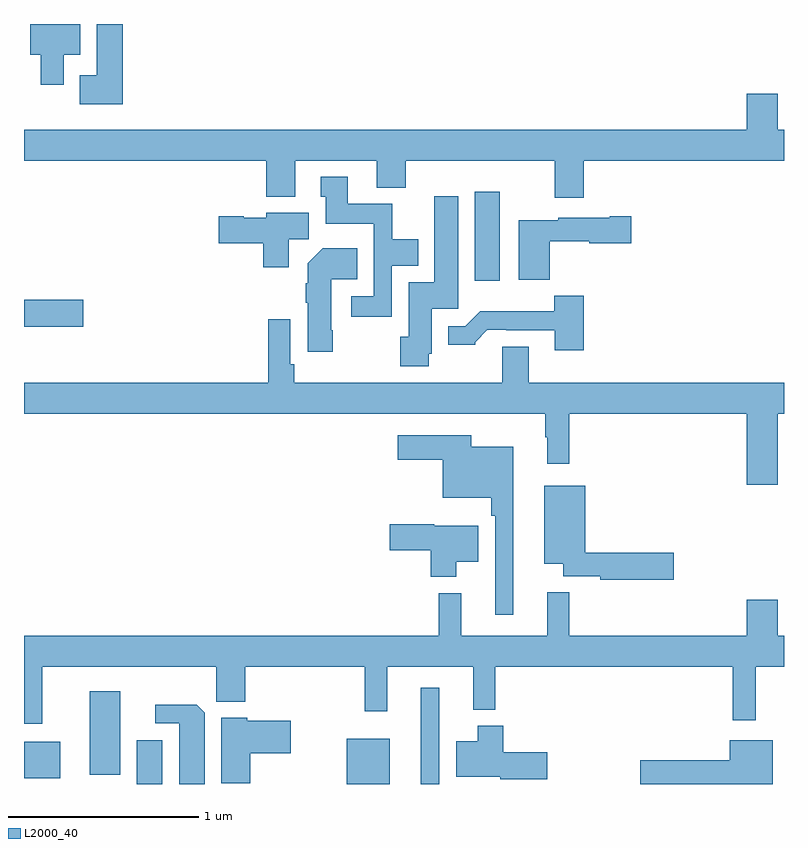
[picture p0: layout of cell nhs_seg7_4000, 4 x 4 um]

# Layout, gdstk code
import gdstk
lib = gdstk.Library(unit=1e-6, precision=1e-09)
def R(c, l, rs):  # rectangles x0, y0, x1, y1
    for r in rs: c.add(gdstk.rectangle(r[:2], r[2:], *l))
def P(c, l, *ps):  # polygons
    for p in ps: c.add(gdstk.Polygon(p, *l))
L2000_40 = (2000, 40)

nhs_seg7_4000 = lib.new_cell('nhs_seg7_4000')
R(nhs_seg7_4000, L2000_40, [(365.594,1000,365.728,1000.231), (366.698,1000,366.925,1000.237), (367.088,1000,367.185,1000.507), (365,1000.031,365.191,1000.222), (365.345,1000.05,365.506,1000.489), (365,1002.406,365.311,1002.548), (367.373,1002.648,367.504,1003.117)])
P(nhs_seg7_4000, L2000_40, [(365.519,1004),(365.384,1004),(365.384,1003.729),(365.294,1003.729),(365.294,1003.577),(365.519,1003.577)],
  [(365.209,1003.838),(365.296,1003.838),(365.296,1004),(365.033,1004),(365.033,1003.838),(365.087,1003.838),(365.087,1003.68),(365.209,1003.68)],
  [(367.946,1003.28),(369,1003.28),(369,1003.444),(368.968,1003.444),(368.968,1003.633),(368.804,1003.633),(368.804,1003.444),(365,1003.444),(365,1003.28),(366.275,1003.28),(366.275,1003.091),(366.427,1003.091),(366.427,1003.28),(366.857,1003.28),(366.857,1003.139),(367.01,1003.139),(367.01,1003.28),(367.793,1003.28),(367.793,1003.086),(367.946,1003.086)],
  [(366.936,1002.728),(367.075,1002.728),(367.075,1002.868),(366.939,1002.868),(366.939,1003.054),(366.703,1003.054),(366.703,1003.195),(366.563,1003.195),(366.563,1003.092),(366.587,1003.092),(366.587,1002.95),(366.84,1002.95),(366.84,1002.567),(366.723,1002.567),(366.723,1002.459),(366.936,1002.459)],
  [(367.131,1002.264),(367.147,1002.264),(367.147,1002.501),(367.285,1002.501),(367.285,1003.093),(367.16,1003.093),(367.16,1002.64),(367.025,1002.64),(367.025,1002.354),(366.979,1002.354),(366.979,1002.198),(367.131,1002.198)],
  [(366.394,1002.868),(366.499,1002.868),(366.499,1003.006),(366.276,1003.006),(366.276,1002.979),(366.156,1002.979),(366.156,1002.987),(366.024,1002.987),(366.024,1002.845),(366.26,1002.845),(366.26,1002.72),(366.394,1002.72)],
  [(367.766,1002.857),(367.974,1002.857),(367.974,1002.845),(368.197,1002.845),(368.197,1002.987),(368.084,1002.987),(368.084,1002.979),(367.812,1002.979),(367.812,1002.967),(367.604,1002.967),(367.604,1002.653),(367.766,1002.653)],
  [(366.624,1002.388),(366.616,1002.388),(366.616,1002.656),(366.755,1002.656),(366.755,1002.82),(366.572,1002.82),(366.494,1002.742),(366.494,1002.635),(366.482,1002.635),(366.482,1002.532),(366.494,1002.532),(366.494,1002.276),(366.624,1002.276)],
  [(367.946,1002.571),(367.791,1002.571),(367.791,1002.487),(367.402,1002.487),(367.323,1002.408),(367.232,1002.408),(367.232,1002.311),(367.374,1002.311),(367.374,1002.326),(367.438,1002.39),(367.537,1002.39),(367.537,1002.387),(367.793,1002.387),(367.793,1002.282),(367.946,1002.282)],
  [(368.968,1001.948),(369,1001.948),(369,1002.112),(367.657,1002.112),(367.657,1002.302),(367.517,1002.302),(367.517,1002.112),(366.422,1002.112),(366.422,1002.208),(366.402,1002.208),(366.402,1002.445),(366.286,1002.445),(366.286,1002.112),(365,1002.112),(365,1001.948),(367.743,1001.948),(367.743,1001.825),(367.754,1001.825),(367.754,1001.685),(367.871,1001.685),(367.871,1001.948),(368.804,1001.948),(368.804,1001.574),(368.968,1001.574)],
  [(367.576,1001.776),(367.354,1001.776),(367.354,1001.836),(366.966,1001.836),(366.966,1001.707),(367.205,1001.707),(367.205,1001.507),(367.459,1001.507),(367.459,1001.411),(367.479,1001.411),(367.479,1000.89),(367.576,1000.89)],
  [(368.419,1001.216),(367.954,1001.216),(367.954,1001.569),(367.739,1001.569),(367.739,1001.159),(367.838,1001.159),(367.838,1001.093),(368.034,1001.093),(368.034,1001.074),(368.419,1001.074)],
  [(367.276,1001.171),(367.39,1001.171),(367.39,1001.359),(367.158,1001.359),(367.158,1001.367),(366.924,1001.367),(366.924,1001.23),(367.142,1001.23),(367.142,1001.09),(367.276,1001.09)],
  [(365.095,1000.616),(366.013,1000.616),(366.013,1000.434),(366.164,1000.434),(366.164,1000.616),(366.793,1000.616),(366.793,1000.383),(366.911,1000.383),(366.911,1000.616),(367.364,1000.616),(367.364,1000.391),(367.481,1000.391),(367.481,1000.616),(368.73,1000.616),(368.73,1000.335),(368.851,1000.335),(368.851,1000.616),(369,1000.616),(369,1000.78),(368.968,1000.78),(368.968,1000.969),(368.804,1000.969),(368.804,1000.78),(367.871,1000.78),(367.871,1001.008),(367.754,1001.008),(367.754,1000.78),(367.301,1000.78),(367.301,1001.005),(367.183,1001.005),(367.183,1000.78),(365,1000.78),(365,1000.317),(365.095,1000.317)],
  [(365.95,1000.376),(365.908,1000.418),(365.691,1000.418),(365.691,1000.32),(365.816,1000.32),(365.816,1000),(365.95,1000)],
  [(366.191,1000.163),(366.403,1000.163),(366.403,1000.333),(366.174,1000.333),(366.174,1000.348),(366.038,1000.348),(366.038,1000.003),(366.191,1000.003)],
  [(367.753,1000.167),(367.523,1000.167),(367.523,1000.306),(367.388,1000.306),(367.388,1000.225),(367.274,1000.225),(367.274,1000.037),(367.506,1000.037),(367.506,1000.025),(367.753,1000.025)],
  [(368.941,1000.231),(368.714,1000.231),(368.714,1000.125),(368.244,1000.125),(368.244,1000),(368.941,1000)])

lib.write_gds('nhs_seg7_4000.gds')
